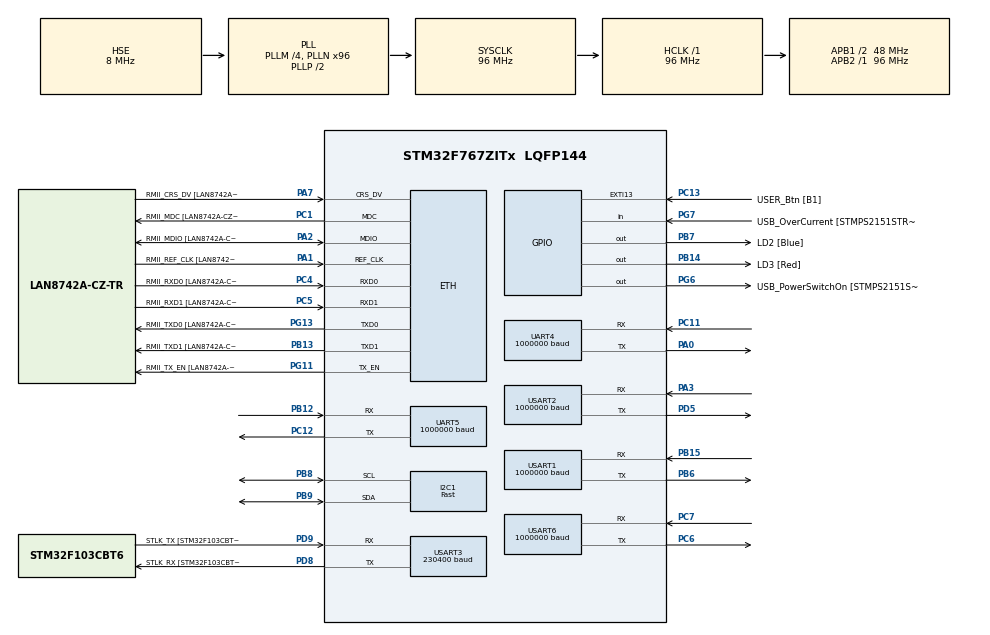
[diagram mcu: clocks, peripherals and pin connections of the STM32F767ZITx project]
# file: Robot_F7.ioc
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Dma.Request0=UART4_RX
Dma.Request1=UART4_TX
Dma.Request10=UART5_RX
Dma.Request11=UART5_TX
Dma.Request2=USART1_RX
Dma.Request3=USART1_TX
Dma.Request4=USART6_RX
Dma.Request5=USART6_TX
Dma.Request6=USART3_RX
Dma.Request7=USART3_TX
Dma.Request8=USART2_RX
Dma.Request9=USART2_TX
Dma.UART4_RX.0.Direction=DMA_PERIPH_TO_MEMORY
Dma.UART4_RX.0.FIFOMode=DMA_FIFOMODE_DISABLE
Dma.UART4_RX.0.Instance=DMA1_Stream2
Dma.UART4_RX.0.MemDataAlignment=DMA_MDATAALIGN_BYTE
Dma.UART4_RX.0.MemInc=DMA_MINC_ENABLE
Dma.UART4_RX.0.Mode=DMA_NORMAL
Dma.UART4_RX.0.PeriphDataAlignment=DMA_PDATAALIGN_BYTE
Dma.UART4_RX.0.PeriphInc=DMA_PINC_DISABLE
Dma.UART4_RX.0.Priority=DMA_PRIORITY_LOW
Dma.UART4_TX.1.Direction=DMA_MEMORY_TO_PERIPH
Dma.UART4_TX.1.FIFOMode=DMA_FIFOMODE_DISABLE
Dma.UART4_TX.1.Instance=DMA1_Stream4
Dma.UART4_TX.1.MemDataAlignment=DMA_MDATAALIGN_BYTE
Dma.UART4_TX.1.MemInc=DMA_MINC_ENABLE
Dma.UART4_TX.1.Mode=DMA_NORMAL
Dma.UART4_TX.1.PeriphDataAlignment=DMA_PDATAALIGN_BYTE
Dma.UART4_TX.1.PeriphInc=DMA_PINC_DISABLE
Dma.UART4_TX.1.Priority=DMA_PRIORITY_LOW
Dma.UART5_RX.10.Direction=DMA_PERIPH_TO_MEMORY
Dma.UART5_RX.10.FIFOMode=DMA_FIFOMODE_DISABLE
Dma.UART5_RX.10.Instance=DMA1_Stream0
Dma.UART5_RX.10.MemDataAlignment=DMA_MDATAALIGN_BYTE
Dma.UART5_RX.10.MemInc=DMA_MINC_ENABLE
Dma.UART5_RX.10.Mode=DMA_CIRCULAR
Dma.UART5_RX.10.PeriphDataAlignment=DMA_PDATAALIGN_BYTE
Dma.UART5_RX.10.PeriphInc=DMA_PINC_DISABLE
Dma.UART5_RX.10.Priority=DMA_PRIORITY_LOW
Dma.UART5_TX.11.Direction=DMA_MEMORY_TO_PERIPH
Dma.UART5_TX.11.FIFOMode=DMA_FIFOMODE_DISABLE
Dma.UART5_TX.11.Instance=DMA1_Stream7
Dma.UART5_TX.11.MemDataAlignment=DMA_MDATAALIGN_BYTE
Dma.UART5_TX.11.MemInc=DMA_MINC_ENABLE
Dma.UART5_TX.11.Mode=DMA_NORMAL
Dma.UART5_TX.11.PeriphDataAlignment=DMA_PDATAALIGN_BYTE
Dma.UART5_TX.11.PeriphInc=DMA_PINC_DISABLE
Dma.UART5_TX.11.Priority=DMA_PRIORITY_LOW
Dma.USART1_RX.2.Direction=DMA_PERIPH_TO_MEMORY
Dma.USART1_RX.2.FIFOMode=DMA_FIFOMODE_DISABLE
Dma.USART1_RX.2.Instance=DMA2_Stream2
Dma.USART1_RX.2.MemDataAlignment=DMA_MDATAALIGN_BYTE
Dma.USART1_RX.2.MemInc=DMA_MINC_ENABLE
Dma.USART1_RX.2.Mode=DMA_NORMAL
Dma.USART1_RX.2.PeriphDataAlignment=DMA_PDATAALIGN_BYTE
Dma.USART1_RX.2.PeriphInc=DMA_PINC_DISABLE
Dma.USART1_RX.2.Priority=DMA_PRIORITY_LOW
Dma.USART1_TX.3.Direction=DMA_MEMORY_TO_PERIPH
Dma.USART1_TX.3.FIFOMode=DMA_FIFOMODE_DISABLE
Dma.USART1_TX.3.Instance=DMA2_Stream7
Dma.USART1_TX.3.MemDataAlignment=DMA_MDATAALIGN_BYTE
Dma.USART1_TX.3.MemInc=DMA_MINC_ENABLE
Dma.USART1_TX.3.Mode=DMA_NORMAL
Dma.USART1_TX.3.PeriphDataAlignment=DMA_PDATAALIGN_BYTE
Dma.USART1_TX.3.PeriphInc=DMA_PINC_DISABLE
Dma.USART1_TX.3.Priority=DMA_PRIORITY_LOW
Dma.USART2_RX.8.Direction=DMA_PERIPH_TO_MEMORY
Dma.USART2_RX.8.FIFOMode=DMA_FIFOMODE_DISABLE
Dma.USART2_RX.8.Instance=DMA1_Stream5
Dma.USART2_RX.8.MemDataAlignment=DMA_MDATAALIGN_BYTE
Dma.USART2_RX.8.MemInc=DMA_MINC_ENABLE
Dma.USART2_RX.8.Mode=DMA_NORMAL
Dma.USART2_RX.8.PeriphDataAlignment=DMA_PDATAALIGN_BYTE
Dma.USART2_RX.8.PeriphInc=DMA_PINC_DISABLE
Dma.USART2_RX.8.Priority=DMA_PRIORITY_LOW
Dma.USART2_TX.9.Direction=DMA_MEMORY_TO_PERIPH
Dma.USART2_TX.9.FIFOMode=DMA_FIFOMODE_DISABLE
Dma.USART2_TX.9.Instance=DMA1_Stream6
Dma.USART2_TX.9.MemDataAlignment=DMA_MDATAALIGN_BYTE
Dma.USART2_TX.9.MemInc=DMA_MINC_ENABLE
Dma.USART2_TX.9.Mode=DMA_NORMAL
Dma.USART2_TX.9.PeriphDataAlignment=DMA_PDATAALIGN_BYTE
Dma.USART2_TX.9.PeriphInc=DMA_PINC_DISABLE
Dma.USART2_TX.9.Priority=DMA_PRIORITY_LOW
Dma.USART3_RX.6.Direction=DMA_PERIPH_TO_MEMORY
Dma.USART3_RX.6.FIFOMode=DMA_FIFOMODE_DISABLE
Dma.USART3_RX.6.Instance=DMA1_Stream1
Dma.USART3_RX.6.MemDataAlignment=DMA_MDATAALIGN_BYTE
Dma.USART3_RX.6.MemInc=DMA_MINC_ENABLE
Dma.USART3_RX.6.Mode=DMA_NORMAL
Dma.USART3_RX.6.PeriphDataAlignment=DMA_PDATAALIGN_BYTE
Dma.USART3_RX.6.PeriphInc=DMA_PINC_DISABLE
Dma.USART3_RX.6.Priority=DMA_PRIORITY_LOW
Dma.USART3_TX.7.Direction=DMA_MEMORY_TO_PERIPH
Dma.USART3_TX.7.FIFOMode=DMA_FIFOMODE_DISABLE
Dma.USART3_TX.7.Instance=DMA1_Stream3
Dma.USART3_TX.7.MemDataAlignment=DMA_MDATAALIGN_BYTE
Dma.USART3_TX.7.MemInc=DMA_MINC_ENABLE
Dma.USART3_TX.7.Mode=DMA_NORMAL
Dma.USART3_TX.7.PeriphDataAlignment=DMA_PDATAALIGN_BYTE
Dma.USART3_TX.7.PeriphInc=DMA_PINC_DISABLE
Dma.USART3_TX.7.Priority=DMA_PRIORITY_LOW
Dma.USART6_RX.4.Direction=DMA_PERIPH_TO_MEMORY
Dma.USART6_RX.4.FIFOMode=DMA_FIFOMODE_DISABLE
Dma.USART6_RX.4.Instance=DMA2_Stream1
Dma.USART6_RX.4.MemDataAlignment=DMA_MDATAALIGN_BYTE
Dma.USART6_RX.4.MemInc=DMA_MINC_ENABLE
Dma.USART6_RX.4.Mode=DMA_NORMAL
Dma.USART6_RX.4.PeriphDataAlignment=DMA_PDATAALIGN_BYTE
Dma.USART6_RX.4.PeriphInc=DMA_PINC_DISABLE
Dma.USART6_RX.4.Priority=DMA_PRIORITY_LOW
Dma.USART6_TX.5.Direction=DMA_MEMORY_TO_PERIPH
Dma.USART6_TX.5.FIFOMode=DMA_FIFOMODE_DISABLE
Dma.USART6_TX.5.Instance=DMA2_Stream6
Dma.USART6_TX.5.MemDataAlignment=DMA_MDATAALIGN_BYTE
Dma.USART6_TX.5.MemInc=DMA_MINC_ENABLE
Dma.USART6_TX.5.Mode=DMA_NORMAL
Dma.USART6_TX.5.PeriphDataAlignment=DMA_PDATAALIGN_BYTE
Dma.USART6_TX.5.PeriphInc=DMA_PINC_DISABLE
Dma.USART6_TX.5.Priority=DMA_PRIORITY_LOW
ETH.MediaInterface=ETH_MEDIA_INTERFACE_RMII
FREERTOS.INCLUDE_vTaskDelayUntil=1
FREERTOS.MEMORY_ALLOCATION=2
FREERTOS.Mutexes01=PCUART,Static,PCUARTControlBlock;DATABUFFER,Static,DATABUFFERControlBlock
FREERTOS.Queues01=UpperLeftLeg_req,16,UARTcmd_t,0,Static,UpperLeftLeg_reqBuffer,UpperLeftLeg_reqControlBlock;LowerRightLeg_req,16,UARTcmd_t,0,Static,LowerRightLeg_reqBuffer,LowerRightLeg_reqControlBlock;HeadAndArms_req,16,UARTcmd_t,0,Static,HeadAndArms_reqBuffer,HeadAndArms_reqControlBlock;UpperRightLeg_req,16,UARTcmd_t,0,Static,UpperRightLeg_reqBuffer,UpperRightLeg_reqControlBlock;LowerLeftLeg_req,16,UARTcmd_t,0,Static,LowerLeftLeg_reqBuffer,LowerLeftLeg_reqControlBlock;BufferWriteQueue,32,TXData_t,0,Static,BufferWriteQueueBuffer,BufferWriteQueueControlBlock
FREERTOS.Tasks01=defaultTask,-3,128,StartDefaultTask,Default,NULL,Static,defaultTaskBuffer,defaultTaskControlBlock;UpperLeftLeg,-1,128,StartUpperLeftLeg,As external,NULL,Static,UpperLeftLegBuffer,UpperLeftLegControlBlock;LowerRightLeg,-1,128,StartLowerRightLeg,As external,NULL,Static,LowerRightLegBuffer,LowerRightLegControlBlock;HeadAndArms,-1,128,StartHeadAndArms,As external,NULL,Static,HeadAndArmsBuffer,HeadAndArmsControlBlock;UpperRightLeg,-1,128,StartUpperRightLeg,As external,NULL,Static,UpperRightLegBuffer,UpperRightLegControlBlock;LowerLeftLeg,-1,128,StartLowerLeftLeg,As external,NULL,Static,LowerLeftLegBuffer,LowerLeftLegControlBlock;IMUTask,0,128,StartIMUTask,As external,NULL,Static,IMUTaskBuffer,IMUTaskControlBlock;CommandTask,1,128,StartCommandTask,As external,NULL,Static,CommandTaskBuffer,CommandTaskControlBlock;RxTask,3,512,StartRxTask,As external,NULL,Static,RxTaskBuffer,RxTaskControlBlock;TxTask,2,512,StartTxTask,As external,NULL,Static,TxTaskBuffer,TxTaskControlBlock;BuffWriterTask,0,128,StartBuffWriterTask,As external,NULL,Static,BuffWriterTaskBuffer,BuffWriterTaskControlBlock;MotorCmdGenTask,0,128,StartMotorCmdGenTask,As external,NULL,Static,MotorCmdGenTaskBuffer,MotorCmdGenTaskControlBlock
I2C1.I2C_Speed_Mode=I2C_Fast
I2C1.Timing=0x2010091A
LWIP.Version=v2.0.3_Cube
Mcu.Family=STM32F7
Mcu.Name=STM32F767ZITx
Mcu.Package=LQFP144
NVIC.DMA1_Stream0_IRQn=true\:5\:0\:false\:false\:true\:true\:false
NVIC.DMA1_Stream1_IRQn=true\:5\:0\:false\:false\:true\:true\:false
NVIC.DMA1_Stream2_IRQn=true\:5\:0\:false\:false\:true\:true\:false
NVIC.DMA1_Stream3_IRQn=true\:5\:0\:false\:false\:true\:true\:false
NVIC.DMA1_Stream4_IRQn=true\:5\:0\:false\:false\:true\:true\:false
NVIC.DMA1_Stream5_IRQn=true\:5\:0\:false\:false\:true\:true\:false
NVIC.DMA1_Stream6_IRQn=true\:5\:0\:false\:false\:true\:true\:false
NVIC.DMA1_Stream7_IRQn=true\:5\:0\:false\:false\:true\:true\:false
NVIC.DMA2_Stream1_IRQn=true\:5\:0\:false\:false\:true\:true\:false
NVIC.DMA2_Stream2_IRQn=true\:5\:0\:false\:false\:true\:true\:false
NVIC.DMA2_Stream6_IRQn=true\:5\:0\:false\:false\:true\:true\:false
NVIC.DMA2_Stream7_IRQn=true\:5\:0\:false\:false\:true\:true\:false
NVIC.ETH_IRQn=true\:5\:0\:false\:false\:true\:true\:false
NVIC.I2C1_EV_IRQn=true\:5\:0\:false\:false\:true\:true\:true
NVIC.PriorityGroup=NVIC_PRIORITYGROUP_4
NVIC.TIM1_UP_TIM10_IRQn=true\:0\:0\:false\:false\:true\:false\:false
NVIC.TimeBase=TIM1_UP_TIM10_IRQn
NVIC.TimeBaseIP=TIM1
NVIC.UART4_IRQn=true\:5\:0\:false\:false\:true\:true\:true
NVIC.UART5_IRQn=true\:5\:0\:false\:false\:true\:true\:true
NVIC.USART1_IRQn=true\:5\:0\:false\:false\:true\:true\:true
NVIC.USART2_IRQn=true\:5\:0\:false\:false\:true\:true\:true
NVIC.USART3_IRQn=true\:5\:0\:false\:false\:true\:true\:true
NVIC.USART6_IRQn=true\:5\:0\:false\:false\:true\:true\:true
PA0/WKUP.Mode=Asynchronous
PA0/WKUP.Signal=UART4_TX
PA1.GPIO_Label=RMII_REF_CLK [LAN8742A-CZ-TR_REFCLK0]
PA1.Mode=RMII
PA1.Signal=ETH_REF_CLK
PA10.GPIO_Label=USB_ID
PA10.Signal=USB_OTG_FS_ID
PA11.GPIO_Label=USB_DM
PA11.Signal=USB_OTG_FS_DM
PA12.GPIO_Label=USB_DP
PA12.Signal=USB_OTG_FS_DP
PA13.GPIO_Label=TMS
PA13.Mode=Serial_Wire
PA13.Signal=SYS_JTMS-SWDIO
PA14.GPIO_Label=TCK
PA14.Mode=Serial_Wire
PA14.Signal=SYS_JTCK-SWCLK
PA2.GPIO_Label=RMII_MDIO [LAN8742A-CZ-TR_MDIO]
PA2.Mode=RMII
PA2.Signal=ETH_MDIO
PA3.Mode=Asynchronous
PA3.Signal=USART2_RX
PA7.GPIO_Label=RMII_CRS_DV [LAN8742A-CZ-TR_CRS_DV]
PA7.Mode=RMII
PA7.Signal=ETH_CRS_DV
PA8.GPIO_Label=USB_SOF [TP1]
PA8.Signal=USB_OTG_FS_SOF
PA9.GPIO_Label=USB_VBUS
PA9.Signal=USB_OTG_FS_VBUS
PB12.Mode=Asynchronous
PB12.Signal=UART5_RX
PB13.GPIO_Label=RMII_TXD1 [LAN8742A-CZ-TR_TXD1]
PB13.Mode=RMII
PB13.Signal=ETH_TXD1
PB14.GPIO_Label=LD3 [Red]
PB14.Signal=GPIO_Output
PB15.Mode=Asynchronous
PB15.Signal=USART1_RX
PB3.GPIO_Label=SWO
PB3.Signal=SYS_JTDO-SWO
PB6.Mode=Asynchronous
PB6.Signal=USART1_TX
PB7.GPIO_Label=LD2 [Blue]
PB7.Signal=GPIO_Output
PB8.Mode=I2C
PB8.Signal=I2C1_SCL
PB9.Mode=I2C
PB9.Signal=I2C1_SDA
PC1.GPIO_Label=RMII_MDC [LAN8742A-CZ-TR_MDC]
PC1.Mode=RMII
PC1.Signal=ETH_MDC
PC11.Mode=Asynchronous
PC11.Signal=UART4_RX
PC12.Mode=Asynchronous
PC12.Signal=UART5_TX
PC13.GPIO_Label=USER_Btn [B1]
PC13.Signal=GPXTI13
PC14/OSC32_IN.Mode=LSE-External-Oscillator
PC14/OSC32_IN.Signal=RCC_OSC32_IN
PC15/OSC32_OUT.Mode=LSE-External-Oscillator
PC15/OSC32_OUT.Signal=RCC_OSC32_OUT
PC4.GPIO_Label=RMII_RXD0 [LAN8742A-CZ-TR_RXD0]
PC4.Mode=RMII
PC4.Signal=ETH_RXD0
PC5.GPIO_Label=RMII_RXD1 [LAN8742A-CZ-TR_RXD1]
PC5.Mode=RMII
PC5.Signal=ETH_RXD1
PC6.Mode=Asynchronous
PC6.Signal=USART6_TX
PC7.Mode=Asynchronous
PC7.Signal=USART6_RX
PD5.Mode=Asynchronous
PD5.Signal=USART2_TX
PD8.GPIO_Label=STLK_RX [STM32F103CBT6_PA3]
PD8.Mode=Asynchronous
PD8.Signal=USART3_TX
PD9.GPIO_Label=STLK_TX [STM32F103CBT6_PA2]
PD9.Mode=Asynchronous
PD9.Signal=USART3_RX
PG11.GPIO_Label=RMII_TX_EN [LAN8742A-CZ-TR_TXEN]
PG11.Mode=RMII
PG11.Signal=ETH_TX_EN
PG13.GPIO_Label=RMII_TXD0 [LAN8742A-CZ-TR_TXD0]
PG13.Mode=RMII
PG13.Signal=ETH_TXD0
PG6.GPIO_Label=USB_PowerSwitchOn [STMPS2151STR_EN]
PG6.Signal=GPIO_Output
PG7.GPIO_Label=USB_OverCurrent [STMPS2151STR_FAULT]
PG7.Signal=GPIO_Input
PH0/OSC_IN.GPIO_Label=MCO [STM32F103CBT6_PA8]
PH0/OSC_IN.Mode=HSE-External-Clock-Source
PH0/OSC_IN.Signal=RCC_OSC_IN
PH1/OSC_OUT.Mode=HSE-External-Clock-Source
PH1/OSC_OUT.Signal=RCC_OSC_OUT
ProjectManager.HeapSize=0x200
ProjectManager.StackSize=0x400
ProjectManager.TargetToolchain=SW4STM32
RCC.48MHZClocksFreq_Value=24000000
RCC.AHBFreq_Value=96000000
RCC.APB1CLKDivider=RCC_HCLK_DIV2
RCC.APB1Freq_Value=48000000
RCC.APB1TimFreq_Value=96000000
RCC.APB2Freq_Value=96000000
RCC.APB2TimFreq_Value=96000000
RCC.CortexFreq_Value=96000000
RCC.HCLKFreq_Value=96000000
RCC.HSE_VALUE=8000000
RCC.HSI_VALUE=16000000
RCC.PLLM=4
RCC.PLLMUL=RCC_PLL_MUL9
RCC.PLLN=96
RCC.PLLQ=4
RCC.PLLSourceVirtual=RCC_PLLSOURCE_HSE
RCC.PRESCALERUSB=RCC_USBCLKSOURCE_PLL_DIV1_5
RCC.SYSCLKFreq_VALUE=96000000
RCC.SYSCLKSource=RCC_SYSCLKSOURCE_PLLCLK
RCC.SYSCLKSourceVirtual=RCC_SYSCLKSOURCE_PLLCLK
RCC.USBFreq_Value=48000000
RCC.VCOOutputFreq_Value=192000000
UART4.BaudRate=1000000
UART4.DMADisableonRxErrorParam=UART_ADVFEATURE_DMA_DISABLEONRXERROR
UART4.OverrunDisableParam=UART_ADVFEATURE_OVERRUN_DISABLE
UART5.BaudRate=1000000
UART5.DMADisableonRxErrorParam=UART_ADVFEATURE_DMA_DISABLEONRXERROR
UART5.OverrunDisableParam=UART_ADVFEATURE_OVERRUN_DISABLE
USART1.BaudRate=1000000
USART1.DMADisableonRxErrorParam=ADVFEATURE_DMA_DISABLEONRXERROR
USART1.OverrunDisableParam=ADVFEATURE_OVERRUN_DISABLE
USART1.VirtualMode-Asynchronous=VM_ASYNC
USART2.BaudRate=1000000
USART2.DMADisableonRxErrorParam=ADVFEATURE_DMA_DISABLEONRXERROR
USART2.OverrunDisableParam=ADVFEATURE_OVERRUN_DISABLE
USART2.VirtualMode-Asynchronous=VM_ASYNC
USART3.BaudRate=230400
USART3.DMADisableonRxErrorParam=ADVFEATURE_DMA_DISABLEONRXERROR
USART3.OverrunDisableParam=ADVFEATURE_OVERRUN_DISABLE
USART3.VirtualMode-Asynchronous=VM_ASYNC
USART6.BaudRate=1000000
USART6.DMADisableonRxErrorParam=ADVFEATURE_DMA_DISABLEONRXERROR
USART6.OverrunDisableParam=ADVFEATURE_OVERRUN_DISABLE
USART6.VirtualMode-Asynchronous=VM_ASYNC
VP_FREERTOS_VS_ENABLE.Mode=Enabled
VP_LWIP_VS_Enabled.Mode=Enabled
VP_SYS_VS_tim1.Mode=TIM1
board=NUCLEO-F767ZI

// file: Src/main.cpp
/**
  ******************************************************************************
  * @file           : main.c
  * @brief          : Main program body
  ******************************************************************************
  * This notice applies to any and all portions of this file
  * that are not between comment pairs USER CODE BEGIN and
  * USER CODE END. Other portions of this file, whether
  * inserted by the user or by software development tools
  * are owned by their respective copyright owners.
  *
  * Copyright (c) 2018 STMicroelectronics International N.V.
  * All rights reserved.
  *
  * Redistribution and use in source and binary forms, with or without
  * modification, are permitted, provided that the following conditions are met:
  *
  * 1. Redistribution of source code must retain the above copyright notice,
  *    this list of conditions and the following disclaimer.
  * 2. Redistributions in binary form must reproduce the above copyright notice,
  *    this list of conditions and the following disclaimer in the documentation
  *    and/or other materials provided with the distribution.
  * 3. Neither the name of STMicroelectronics nor the names of other
  *    contributors to this software may be used to endorse or promote products
  *    derived from this software without specific written permission.
  * 4. This software, including modifications and/or derivative works of this
  *    software, must execute solely and exclusively on microcontroller or
  *    microprocessor devices manufactured by or for STMicroelectronics.
  * 5. Redistribution and use of this software other than as permitted under
  *    this license is void and will automatically terminate your rights under
  *    this license.
  *
  * THIS SOFTWARE IS PROVIDED BY STMICROELECTRONICS AND CONTRIBUTORS "AS IS"
  * AND ANY EXPRESS, IMPLIED OR STATUTORY WARRANTIES, INCLUDING, BUT NOT
  * LIMITED TO, THE IMPLIED WARRANTIES OF MERCHANTABILITY, FITNESS FOR A
  * PARTICULAR PURPOSE AND NON-INFRINGEMENT OF THIRD PARTY INTELLECTUAL PROPERTY
  * RIGHTS ARE DISCLAIMED TO THE FULLEST EXTENT PERMITTED BY LAW. IN NO EVENT
  * SHALL STMICROELECTRONICS OR CONTRIBUTORS BE LIABLE FOR ANY DIRECT, INDIRECT,
  * INCIDENTAL, SPECIAL, EXEMPLARY, OR CONSEQUENTIAL DAMAGES (INCLUDING, BUT NOT
  * LIMITED TO, PROCUREMENT OF SUBSTITUTE GOODS OR SERVICES; LOSS OF USE, DATA,
  * OR PROFITS; OR BUSINESS INTERRUPTION) HOWEVER CAUSED AND ON ANY THEORY OF
  * LIABILITY, WHETHER IN CONTRACT, STRICT LIABILITY, OR TORT (INCLUDING
  * NEGLIGENCE OR OTHERWISE) ARISING IN ANY WAY OUT OF THE USE OF THIS SOFTWARE,
  * EVEN IF ADVISED OF THE POSSIBILITY OF SUCH DAMAGE.
  *
  ******************************************************************************
  */
#include "main.h"
#include "stm32f7xx_hal.h"
#include "cmsis_os.h"
#include "dma.h"
#include "i2c.h"
#include "usart.h"
#include "gpio.h"

/* USER CODE BEGIN PV */
/* Private variables ---------------------------------------------------------*/

/* USER CODE END PV */

void SystemClock_Config(void);
void MX_FREERTOS_Init(void);

/* USER CODE BEGIN PFP */
static void MPU_Config(void);

/* Private function prototypes -----------------------------------------------*/

/* USER CODE END PFP */

int main(void)
{
  /* USER CODE BEGIN 1 */

    /* MPU Configuration----------------------------------------------------------*/
    MPU_Config();

    /* Enable I-Cache-------------------------------------------------------------*/
    SCB_EnableICache();

    /* Enable D-Cache-------------------------------------------------------------*/
    SCB_EnableDCache();

  /* USER CODE END 1 */

  /* MCU Configuration----------------------------------------------------------*/

  /* Reset of all peripherals, Initializes the Flash interface and the Systick. */
  HAL_Init();

  /* Configure the system clock */
  SystemClock_Config();

  /* Initialize all configured peripherals */
  MX_GPIO_Init();
  MX_DMA_Init();
  MX_USART3_UART_Init();
  MX_UART4_Init();
  MX_UART5_Init();
  MX_USART1_UART_Init();
  MX_USART2_UART_Init();
  MX_USART6_UART_Init();
  MX_I2C1_Init();

  /* Call init function for freertos objects (in freertos.c) */
  MX_FREERTOS_Init();

  /* Start scheduler */
  osKernelStart();

  /* We should never get here as control is now taken by the scheduler */

  /* Infinite loop */
  while (1)
  {

  }

}

void SystemClock_Config(void)
{

  RCC_OscInitTypeDef RCC_OscInitStruct;
  RCC_ClkInitTypeDef RCC_ClkInitStruct;
  RCC_PeriphCLKInitTypeDef PeriphClkInitStruct;

    /**Configure the main internal regulator output voltage
    */
  __HAL_RCC_PWR_CLK_ENABLE();

  __HAL_PWR_VOLTAGESCALING_CONFIG(PWR_REGULATOR_VOLTAGE_SCALE3);

    /**Initializes the CPU, AHB and APB busses clocks
    */
  RCC_OscInitStruct.OscillatorType = RCC_OSCILLATORTYPE_HSE;
  RCC_OscInitStruct.HSEState = RCC_HSE_BYPASS;
  RCC_OscInitStruct.PLL.PLLState = RCC_PLL_ON;
  RCC_OscInitStruct.PLL.PLLSource = RCC_PLLSOURCE_HSE;
  RCC_OscInitStruct.PLL.PLLM = 4;
  RCC_OscInitStruct.PLL.PLLN = 96;
  RCC_OscInitStruct.PLL.PLLP = RCC_PLLP_DIV2;
  RCC_OscInitStruct.PLL.PLLQ = 4;
  if (HAL_RCC_OscConfig(&RCC_OscInitStruct) != HAL_OK)
  {
    _Error_Handler(__FILE__, __LINE__);
  }

    /**Activate the Over-Drive mode
    */
  if (HAL_PWREx_EnableOverDrive() != HAL_OK)
  {
    _Error_Handler(__FILE__, __LINE__);
  }

    /**Initializes the CPU, AHB and APB busses clocks
    */
  RCC_ClkInitStruct.ClockType = RCC_CLOCKTYPE_HCLK|RCC_CLOCKTYPE_SYSCLK
                              |RCC_CLOCKTYPE_PCLK1|RCC_CLOCKTYPE_PCLK2;
  RCC_ClkInitStruct.SYSCLKSource = RCC_SYSCLKSOURCE_PLLCLK;
  RCC_ClkInitStruct.AHBCLKDivider = RCC_SYSCLK_DIV1;
  RCC_ClkInitStruct.APB1CLKDivider = RCC_HCLK_DIV2;
  RCC_ClkInitStruct.APB2CLKDivider = RCC_HCLK_DIV1;

  if (HAL_RCC_ClockConfig(&RCC_ClkInitStruct, FLASH_LATENCY_3) != HAL_OK)
  {
    _Error_Handler(__FILE__, __LINE__);
  }

  PeriphClkInitStruct.PeriphClockSelection = RCC_PERIPHCLK_USART1|RCC_PERIPHCLK_USART2
                              |RCC_PERIPHCLK_USART3|RCC_PERIPHCLK_USART6
                              |RCC_PERIPHCLK_UART4|RCC_PERIPHCLK_UART5
                              |RCC_PERIPHCLK_I2C1;
  PeriphClkInitStruct.Usart1ClockSelection = RCC_USART1CLKSOURCE_PCLK2;
  PeriphClkInitStruct.Usart2ClockSelection = RCC_USART2CLKSOURCE_PCLK1;
  PeriphClkInitStruct.Usart3ClockSelection = RCC_USART3CLKSOURCE_PCLK1;
  PeriphClkInitStruct.Uart4ClockSelection = RCC_UART4CLKSOURCE_PCLK1;
  PeriphClkInitStruct.Uart5ClockSelection = RCC_UART5CLKSOURCE_PCLK1;
  PeriphClkInitStruct.Usart6ClockSelection = RCC_USART6CLKSOURCE_PCLK2;
  PeriphClkInitStruct.I2c1ClockSelection = RCC_I2C1CLKSOURCE_PCLK1;
  if (HAL_RCCEx_PeriphCLKConfig(&PeriphClkInitStruct) != HAL_OK)
  {
    _Error_Handler(__FILE__, __LINE__);
  }

    /**Configure the Systick interrupt time
    */
  HAL_SYSTICK_Config(HAL_RCC_GetHCLKFreq()/1000);

    /**Configure the Systick
    */
  HAL_SYSTICK_CLKSourceConfig(SYSTICK_CLKSOURCE_HCLK);

  /* SysTick_IRQn interrupt configuration */
  HAL_NVIC_SetPriority(SysTick_IRQn, 15, 0);
}

/* USER CODE BEGIN 4 */

/* MPU Configuration */

void MPU_Config(void)
{
  MPU_Region_InitTypeDef MPU_InitStruct;

  /* Disables the MPU */
  HAL_MPU_Disable();
    /**Initializes and configures the Region and the memory to be protected
    */
  MPU_InitStruct.Enable = MPU_REGION_ENABLE;
  MPU_InitStruct.Number = MPU_REGION_NUMBER0;
  MPU_InitStruct.BaseAddress = 0x20020000;
  MPU_InitStruct.Size = MPU_REGION_SIZE_512KB;
  MPU_InitStruct.SubRegionDisable = 0x0;
  MPU_InitStruct.TypeExtField = MPU_TEX_LEVEL0;
  MPU_InitStruct.AccessPermission = MPU_REGION_FULL_ACCESS;
  MPU_InitStruct.DisableExec = MPU_INSTRUCTION_ACCESS_ENABLE;
  MPU_InitStruct.IsShareable = MPU_ACCESS_NOT_SHAREABLE;
  MPU_InitStruct.IsCacheable = MPU_ACCESS_CACHEABLE;
  MPU_InitStruct.IsBufferable = MPU_ACCESS_NOT_BUFFERABLE;

  HAL_MPU_ConfigRegion(&MPU_InitStruct);

    /**Initializes and configures the Region and the memory to be protected
    */
  MPU_InitStruct.Enable = MPU_REGION_ENABLE;
  MPU_InitStruct.Number = MPU_REGION_NUMBER1;
  MPU_InitStruct.BaseAddress = 0x2007C000;
  MPU_InitStruct.Size = MPU_REGION_SIZE_16KB;
  MPU_InitStruct.SubRegionDisable = 0x0;
  MPU_InitStruct.TypeExtField = MPU_TEX_LEVEL1;
  MPU_InitStruct.AccessPermission = MPU_REGION_FULL_ACCESS;
  MPU_InitStruct.DisableExec = MPU_INSTRUCTION_ACCESS_ENABLE;
  MPU_InitStruct.IsShareable = MPU_ACCESS_SHAREABLE;
  MPU_InitStruct.IsCacheable = MPU_ACCESS_NOT_CACHEABLE;
  MPU_InitStruct.IsBufferable = MPU_ACCESS_NOT_BUFFERABLE;

  HAL_MPU_ConfigRegion(&MPU_InitStruct);

    /**Initializes and configures the Region and the memory to be protected
    */
  MPU_InitStruct.Enable = MPU_REGION_ENABLE;
  MPU_InitStruct.Number = MPU_REGION_NUMBER2;
  MPU_InitStruct.BaseAddress = 0x2007C000;
  MPU_InitStruct.Size = MPU_REGION_SIZE_256B;
  MPU_InitStruct.SubRegionDisable = 0x0;
  MPU_InitStruct.TypeExtField = MPU_TEX_LEVEL0;
  MPU_InitStruct.AccessPermission = MPU_REGION_FULL_ACCESS;
  MPU_InitStruct.DisableExec = MPU_INSTRUCTION_ACCESS_ENABLE;
  MPU_InitStruct.IsShareable = MPU_ACCESS_SHAREABLE;
  MPU_InitStruct.IsCacheable = MPU_ACCESS_NOT_CACHEABLE;
  MPU_InitStruct.IsBufferable = MPU_ACCESS_BUFFERABLE;

  HAL_MPU_ConfigRegion(&MPU_InitStruct);

  /* Enables the MPU */
  HAL_MPU_Enable(MPU_PRIVILEGED_DEFAULT);

}

/* USER CODE END 4 */

void HAL_TIM_PeriodElapsedCallback(TIM_HandleTypeDef *htim)
{
  if (htim->Instance == TIM1) {
    HAL_IncTick();
  }
}

void _Error_Handler(char *file, int line)
{
  while(1)
  {
  }
}

/************************ (C) COPYRIGHT STMicroelectronics *****END OF FILE****/
